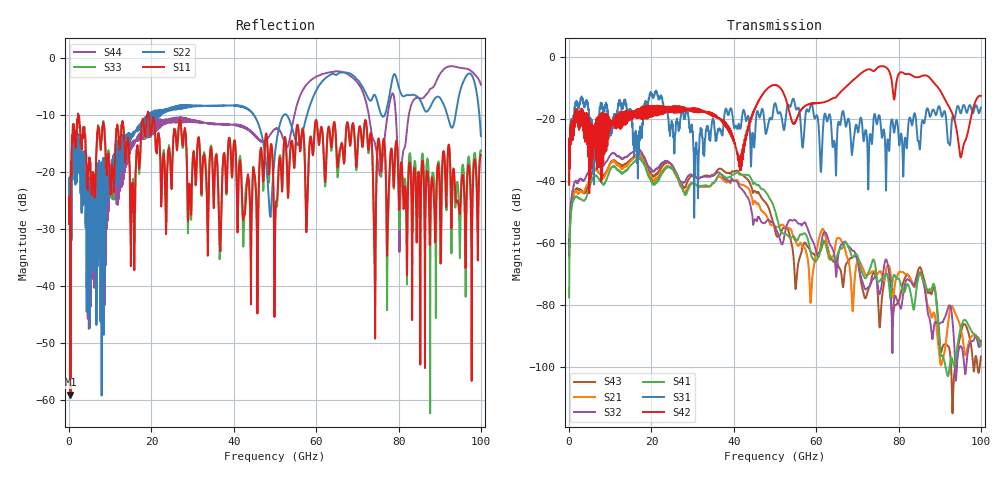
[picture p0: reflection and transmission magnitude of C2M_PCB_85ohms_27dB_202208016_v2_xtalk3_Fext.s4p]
! Info: Touchstone file created by Circ.  Input file=Intel_C2M_200G_11p5in_202208016_staggered.circ
# Hz S RI R 50
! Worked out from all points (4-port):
!   10000 points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, 10 MHz to 100 GHz, reference 50 ohm
!   strongest paths, dB at 10 MHz, 25.01 GHz, 50.01 GHz, 75.01 GHz, 100 GHz:
!     S42: -41.0, -16.9, -8.9, -3.3, -12.5
!     S31: -41.1, -22.1, -14.8, -19.8, -16.2
!     S41: -77.5, -35.9, -49.5, -72.4, -93.0
!     S32: -58.7, -34.9, -54.7, -74.4, -91.5
!     S21: -61.9, -36.0, -54.5, -69.7, -92.6
!     S43: -64.6, -34.8, -55.8, -77.6, -96.6
!   lowest |S11| = -59.0 dB at 340 MHz (marker M1), VSWR 1.00, Z = 50 - j0.105 ohm
!   |S11| at or under -10 dB: start of sweep to 2.158 GHz; 2.232 GHz to 19.02 GHz (16.79 GHz wide, 158 % of centre); 19.38 GHz to end of sweep
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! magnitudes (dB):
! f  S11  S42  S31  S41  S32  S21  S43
! 10 MHz  -29.0  -41.0  -41.1  -77.5  -58.7  -61.9  -64.6
! 340 MHz  -59.0  -23.0  -21.8  -52.7  -48.2  -51.3  -51.2
! 40.82 GHz  -27.6  -30.8  -23.1  -37.2  -40.1  -39.6  -36.6
! 55.11 GHz  -13.6  -20.4  -16.7  -59.0  -52.8  -59.6  -73.7
! 80.34 GHz  -22.2  -4.9  -27.0  -72.3  -80.5  -69.2  -77.4
! 95.17 GHz  -23.5  -32.3  -18.0  -87.1  -93.2  -87.8  -88.6
! 100 GHz  -16.9  -12.5  -16.2  -93.0  -91.5  -92.6  -96.6
